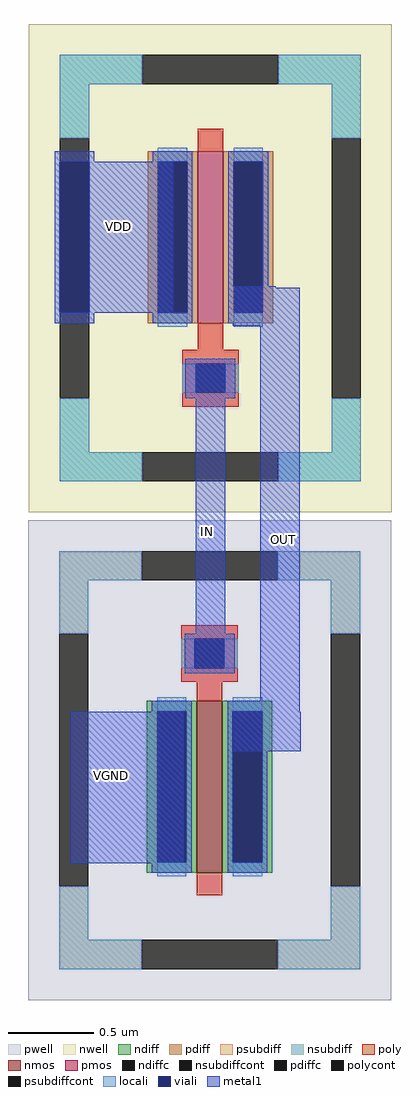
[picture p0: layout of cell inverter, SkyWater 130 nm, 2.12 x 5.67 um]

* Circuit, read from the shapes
.subckt inverter VDD VGND IN OUT
XM1 OUT IN VGND VSUBS sky130_fd_pr__nfet_01v8 w=1 l=0.15
XM2 OUT IN VDD VDD sky130_fd_pr__pfet_01v8 w=1 l=0.15
.ends

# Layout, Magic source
magic
tech sky130A
magscale 1 2
<< viali >>
rect -2 796 32 972
<< metal1 >>
rect -8 972 38 984
rect -8 796 -2 972
rect 32 796 130 972
rect 199 825 249 827
rect -8 784 38 796
rect 199 781 277 825
rect 156 382 190 738
rect 231 332 277 781
rect 10 156 142 332
rect 200 286 278 332
use sky130_fd_pr__nfet_01v8_64Z3AY  XM1
transform 1 0 172 0 1 276
box -211 -279 211 279
use sky130_fd_pr__pfet_01v8_LGS3BL  XM2
transform 1 0 173 0 1 848
box -211 -284 211 284
<< labels >>
flabel metal1 66 896 66 896 0 FreeSans 160 0 0 0 VDD
port 0 nsew
flabel metal1 58 258 58 258 0 FreeSans 160 0 0 0 VGND
port 1 nsew
flabel metal1 170 542 170 542 0 FreeSans 160 0 0 0 IN
port 2 nsew
flabel metal1 258 532 258 532 0 FreeSans 160 0 0 0 OUT
port 3 nsew
<< end >>

# cell sky130_fd_pr__nfet_01v8_64Z3AY: kit device sky130_fd_pr__nfet_01v8, w 1.0 l 0.15 m 1 nf 1 diffcov 100 polycov 100 guard 1 glc 1 grc 1 gtc 1 gbc 1 tbcov 100 rlcov 100 topc 1 botc 0 poverlap 0 doverlap 1 lmin 0.15 wmin 0.42 compatible {sky130_fd_pr__nfet_01v8 sky130_fd_pr__nfet_01v8_lvt sky130_fd_bs_flash__special_sonosfet_star sky130_fd_pr__nfet_g5v0d10v5 sky130_fd_pr__nfet_05v0_nvt sky130_fd_pr__nfet_03v3_nvt} full_metal 1 viasrc 100 viadrn 100 viagate 100 viagb 0 viagr 0 viagl 0 viagt 0

# cell sky130_fd_pr__pfet_01v8_LGS3BL: kit device sky130_fd_pr__pfet_01v8, w 1.0 l 0.15 m 1 nf 1 diffcov 100 polycov 100 guard 1 glc 1 grc 1 gtc 1 gbc 1 tbcov 100 rlcov 100 topc 0 botc 1 poverlap 0 doverlap 1 lmin 0.15 wmin 0.42 compatible {sky130_fd_pr__pfet_01v8 sky130_fd_pr__pfet_01v8_lvt sky130_fd_pr__pfet_01v8_hvt sky130_fd_pr__pfet_g5v0d10v5} full_metal 1 viasrc 100 viadrn 100 viagate 100 viagb 0 viagr 0 viagl 0 viagt 0
